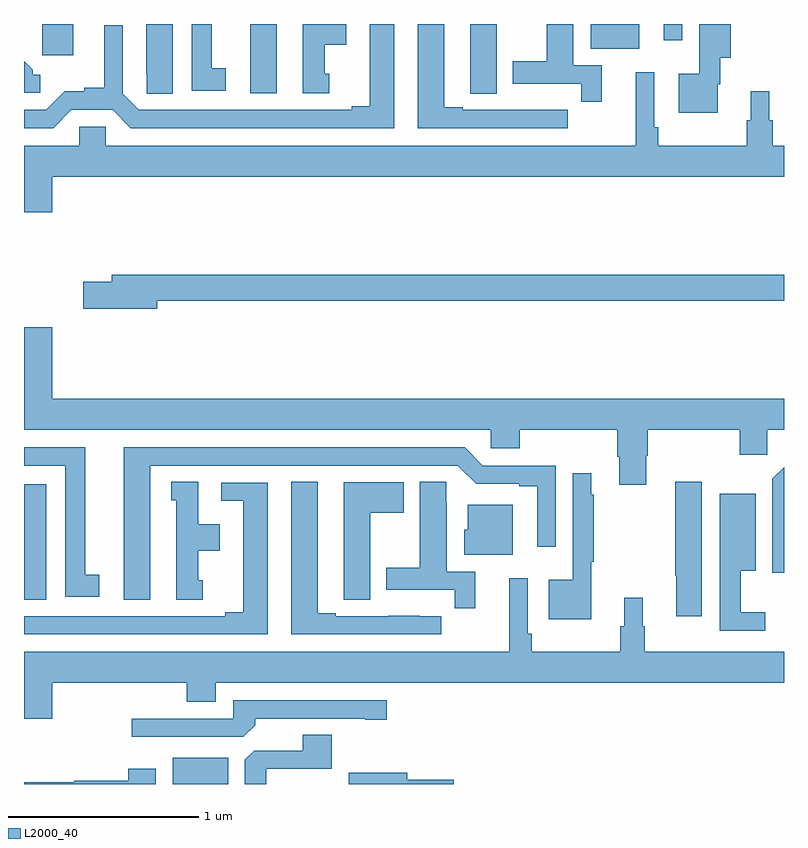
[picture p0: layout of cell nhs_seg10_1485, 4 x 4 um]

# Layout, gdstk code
import gdstk
lib = gdstk.Library(unit=1e-6, precision=1e-09)
def R(c, l, rs):  # rectangles x0, y0, x1, y1
    for r in rs: c.add(gdstk.rectangle(r[:2], r[2:], *l))
def P(c, l, *ps):  # polygons
    for p in ps: c.add(gdstk.Polygon(p, *l))
L2000_40 = (2000, 40)

nhs_seg10_1485 = lib.new_cell('nhs_seg10_1485')
R(nhs_seg10_1485, L2000_40, [(189.782,1250.5,190.075,1250.638), (189,1251.469,189.118,1252.077), (190.19,1254.135,190.33,1254.5), (191.984,1254.371,192.238,1254.5), (192.368,1254.414,192.465,1254.5)])
P(nhs_seg10_1485, L2000_40, [(189.259,1254.48),(189.258,1254.48),(189.258,1254.5),(189.095,1254.5),(189.095,1254.336),(189.259,1254.336)],
  [(189.249,1254.048),(189.467,1254.048),(189.563,1253.952),(190.948,1253.952),(190.948,1254.5),(190.82,1254.5),(190.82,1254.068),(190.724,1254.068),(190.724,1254.048),(189.603,1254.048),(189.519,1254.132),(189.519,1254.493),(189.422,1254.493),(189.422,1254.164),(189.318,1254.164),(189.318,1254.146),(189.215,1254.146),(189.117,1254.048),(189,1254.048),(189,1253.952),(189.153,1253.952)],
  [(189.784,1254.5),(189.644,1254.5),(189.644,1254.241),(189.645,1254.241),(189.645,1254.133),(189.784,1254.133)],
  [(192.041,1254.282),(191.89,1254.282),(191.89,1254.5),(191.75,1254.5),(191.75,1254.303),(191.573,1254.303),(191.573,1254.186),(191.932,1254.186),(191.932,1254.09),(192.041,1254.09)],
  [(192.651,1254.182),(192.664,1254.182),(192.664,1254.323),(192.72,1254.323),(192.72,1254.5),(192.553,1254.5),(192.553,1254.238),(192.446,1254.238),(192.446,1254.032),(192.651,1254.032)],
  [(190.606,1254.237),(190.582,1254.237),(190.582,1254.392),(190.696,1254.392),(190.696,1254.5),(190.466,1254.5),(190.466,1254.135),(190.606,1254.135)],
  [(190.063,1254.266),(189.988,1254.266),(189.988,1254.5),(189.884,1254.5),(189.884,1254.15),(190.063,1254.15)],
  [(191.863,1254.048),(191.75,1254.048),(191.75,1254.049),(191.584,1254.049),(191.584,1254.048),(191.308,1254.048),(191.308,1254.063),(191.212,1254.063),(191.212,1254.5),(191.072,1254.5),(191.072,1253.952),(191.863,1253.952)],
  [(191.488,1254.5),(191.348,1254.5),(191.348,1254.241),(191.349,1254.241),(191.349,1254.133),(191.488,1254.133)],
  [(189.085,1254.234),(189.046,1254.234),(189.046,1254.258),(189,1254.304),(189,1254.138),(189.085,1254.138)],
  [(189.148,1253.696),(193,1253.696),(193,1253.86),(192.941,1253.86),(192.941,1253.994),(192.922,1253.994),(192.922,1254.145),(192.824,1254.145),(192.824,1253.994),(192.805,1253.994),(192.805,1253.86),(192.338,1253.86),(192.338,1253.956),(192.318,1253.956),(192.318,1254.247),(192.221,1254.247),(192.221,1253.86),(189.429,1253.86),(189.429,1253.958),(189.291,1253.958),(189.291,1253.86),(189,1253.86),(189,1253.508),(189.148,1253.508)],
  [(189.7,1253.044),(193,1253.044),(193,1253.18),(189.461,1253.18),(189.461,1253.144),(189.312,1253.144),(189.312,1253.002),(189.7,1253.002)],
  [(192.274,1252.227),(192.282,1252.227),(192.282,1252.364),(192.766,1252.364),(192.766,1252.233),(192.912,1252.233),(192.912,1252.364),(193,1252.364),(193,1252.528),(189.148,1252.528),(189.148,1252.903),(189,1252.903),(189,1252.364),(191.457,1252.364),(191.457,1252.266),(191.609,1252.266),(191.609,1252.364),(192.122,1252.364),(192.122,1252.222),(192.134,1252.222),(192.134,1252.074),(192.274,1252.074)],
  [(189.397,1251.602),(189.322,1251.602),(189.322,1252.272),(189,1252.272),(189,1252.176),(189.218,1252.176),(189.218,1251.486),(189.397,1251.486)],
  [(189.664,1252.176),(191.283,1252.176),(191.379,1252.08),(191.606,1252.08),(191.606,1252.068),(191.702,1252.068),(191.702,1251.75),(191.799,1251.75),(191.799,1252.176),(191.415,1252.176),(191.319,1252.272),(189.524,1252.272),(189.524,1251.471),(189.664,1251.471)],
  [(193,1252.168),(192.939,1252.107),(192.939,1251.612),(193,1251.612)],
  [(191.986,1251.67),(191.998,1251.67),(191.998,1252.022),(191.986,1252.022),(191.986,1252.135),(191.889,1252.135),(191.889,1251.574),(191.762,1251.574),(191.762,1251.368),(191.986,1251.368)],
  [(191.197,1251.384),(191.084,1251.384),(191.084,1251.385),(190.918,1251.385),(190.918,1251.384),(190.642,1251.384),(190.642,1251.399),(190.546,1251.399),(190.546,1252.091),(190.406,1252.091),(190.406,1251.288),(191.197,1251.288)],
  [(191.375,1251.618),(191.224,1251.618),(191.224,1251.98),(191.223,1251.98),(191.223,1252.091),(191.084,1252.091),(191.084,1251.639),(190.907,1251.639),(190.907,1251.522),(191.266,1251.522),(191.266,1251.426),(191.375,1251.426)],
  [(189.94,1251.573),(189.916,1251.573),(189.916,1251.728),(190.03,1251.728),(190.03,1251.868),(189.916,1251.868),(189.916,1252.091),(189.776,1252.091),(189.776,1251.993),(189.8,1251.993),(189.8,1251.471),(189.94,1251.471)],
  [(192.568,1252.09),(192.427,1252.09),(192.427,1251.596),(192.434,1251.596),(192.434,1251.384),(192.568,1251.384)],
  [(190.822,1251.928),(190.999,1251.928),(190.999,1252.087),(190.682,1252.087),(190.682,1251.577),(190.683,1251.577),(190.683,1251.469),(190.822,1251.469)],
  [(190.282,1252.086),(190.038,1252.086),(190.038,1251.99),(190.154,1251.99),(190.154,1251.404),(190.058,1251.404),(190.058,1251.384),(189,1251.384),(189,1251.288),(190.282,1251.288)],
  [(192.901,1251.405),(192.772,1251.405),(192.772,1251.623),(192.85,1251.623),(192.85,1252.027),(192.662,1252.027),(192.662,1251.727),(192.663,1251.727),(192.663,1251.306),(192.901,1251.306)],
  [(191.572,1251.97),(191.336,1251.97),(191.336,1251.837),(191.318,1251.837),(191.318,1251.707),(191.572,1251.707)],
  [(189.148,1251.032),(189.857,1251.032),(189.857,1250.933),(190.009,1250.933),(190.009,1251.032),(193,1251.032),(193,1251.196),(192.268,1251.196),(192.268,1251.33),(192.256,1251.33),(192.256,1251.481),(192.158,1251.481),(192.158,1251.33),(192.139,1251.33),(192.139,1251.196),(191.672,1251.196),(191.672,1251.292),(191.652,1251.292),(191.652,1251.583),(191.555,1251.583),(191.555,1251.196),(189,1251.196),(189,1250.844),(189.148,1250.844)],
  [(190.217,1250.81),(190.217,1250.844),(190.796,1250.844),(190.796,1250.839),(190.909,1250.839),(190.909,1250.94),(190.101,1250.94),(190.101,1250.844),(189.567,1250.844),(189.567,1250.748),(190.155,1250.748)],
  [(190.275,1250.58),(190.619,1250.58),(190.619,1250.759),(190.466,1250.759),(190.466,1250.676),(190.212,1250.676),(190.163,1250.627),(190.163,1250.5),(190.275,1250.5)],
  [(189.694,1250.581),(189.548,1250.581),(189.548,1250.516),(189.264,1250.516),(189.264,1250.509),(189,1250.509),(189,1250.5),(189.694,1250.5)],
  [(191.263,1250.522),(191.017,1250.522),(191.017,1250.56),(190.71,1250.56),(190.71,1250.5),(191.263,1250.5)])

lib.write_gds('nhs_seg10_1485.gds')
